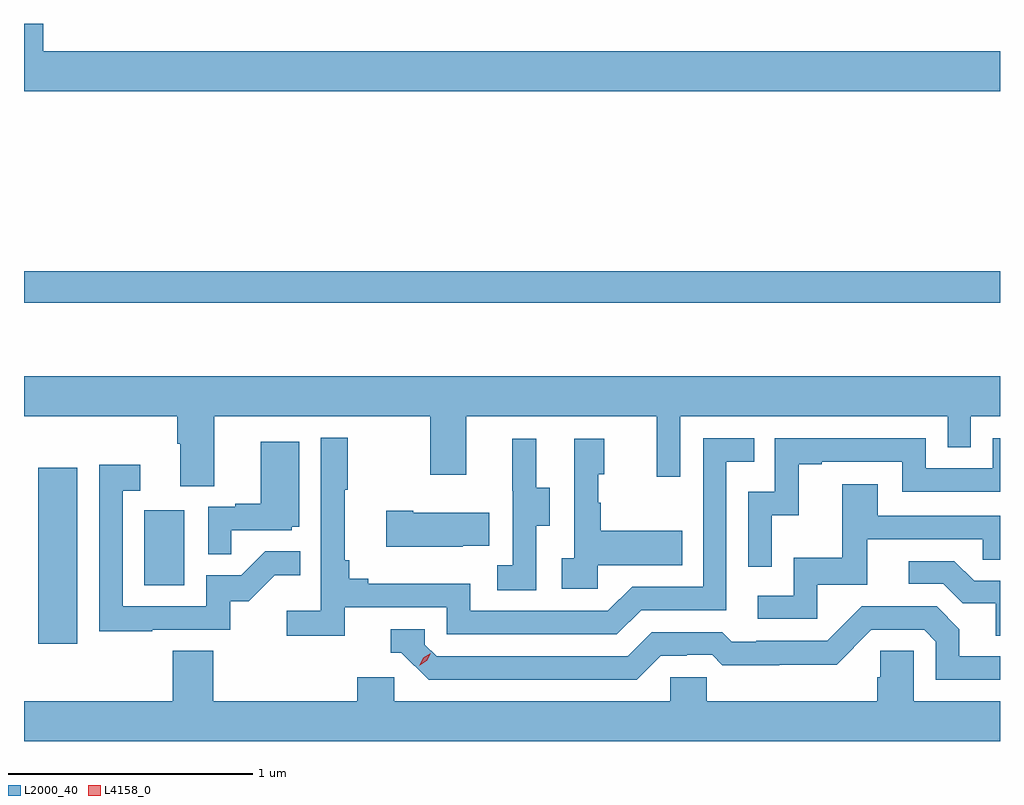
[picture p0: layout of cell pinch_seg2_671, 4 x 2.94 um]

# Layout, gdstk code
import gdstk
lib = gdstk.Library(unit=1e-6, precision=1e-09)
def R(c, l, rs):  # rectangles x0, y0, x1, y1
    for r in rs: c.add(gdstk.rectangle(r[:2], r[2:], *l))
def P(c, l, *ps):  # polygons
    for p in ps: c.add(gdstk.Polygon(p, *l))
L2000_40 = (2000, 40)
L4158_0 = (4158, 0)

pinch_seg2_671 = lib.new_cell('pinch_seg2_671')
R(pinch_seg2_671, L2000_40, [(1082.189,597.42,1082.35,598.141), (1082.624,597.66,1082.788,597.967), (1082.131,598.818,1086.131,598.946)])
P(pinch_seg2_671, L2000_40, [(1086.131,599.848),(1082.209,599.848),(1082.209,599.962),(1082.131,599.962),(1082.131,599.684),(1086.131,599.684)],
  [(1082.911,598.352),(1083.796,598.352),(1083.796,598.113),(1083.943,598.113),(1083.943,598.352),(1084.724,598.352),(1084.724,598.104),(1084.821,598.104),(1084.821,598.352),(1085.916,598.352),(1085.916,598.225),(1086.012,598.225),(1086.012,598.352),(1086.131,598.352),(1086.131,598.516),(1082.131,598.516),(1082.131,598.352),(1082.759,598.352),(1082.759,598.24),(1082.771,598.24),(1082.771,598.066),(1082.911,598.066)],
  [(1083.446,597.57),(1083.864,597.57),(1083.864,597.459),(1084.561,597.459),(1084.66,597.558),(1085.01,597.558),(1085.01,598.167),(1085.123,598.167),(1085.123,598.263),(1084.914,598.263),(1084.914,597.654),(1084.623,597.654),(1084.524,597.555),(1083.96,597.555),(1083.96,597.667),(1083.541,597.667),(1083.541,597.686),(1083.464,597.686),(1083.464,597.763),(1083.445,597.763),(1083.445,598.051),(1083.457,598.051),(1083.457,598.264),(1083.348,598.264),(1083.348,597.556),(1083.207,597.556),(1083.207,597.454),(1083.446,597.454)],
  [(1085.196,597.947),(1085.306,597.947),(1085.306,598.155),(1085.401,598.155),(1085.401,598.167),(1085.73,598.167),(1085.73,598.044),(1086.131,598.044),(1086.131,598.263),(1086.102,598.263),(1086.102,598.14),(1085.826,598.14),(1085.826,598.263),(1085.208,598.263),(1085.208,598.044),(1085.1,598.044),(1085.1,597.735),(1085.196,597.735)],
  [(1084.482,597.743),(1084.829,597.743),(1084.829,597.883),(1084.495,597.883),(1084.495,597.998),(1084.485,597.998),(1084.485,598.116),(1084.51,598.116),(1084.51,598.261),(1084.386,598.261),(1084.386,597.77),(1084.335,597.77),(1084.335,597.645),(1084.482,597.645)],
  [(1084.23,597.904),(1084.285,597.904),(1084.285,598.059),(1084.231,598.059),(1084.231,598.261),(1084.133,598.261),(1084.133,598.047),(1084.134,598.047),(1084.134,597.743),(1084.071,597.743),(1084.071,597.64),(1084.23,597.64)],
  [(1082.981,597.885),(1083.228,597.885),(1083.228,597.9),(1083.259,597.9),(1083.259,598.249),(1083.101,598.249),(1083.101,597.994),(1082.997,597.994),(1082.997,597.981),(1082.886,597.981),(1082.886,597.787),(1082.981,597.787)],
  [(1082.657,597.477),(1082.976,597.477),(1082.976,597.594),(1083.052,597.594),(1083.159,597.701),(1083.263,597.701),(1083.263,597.8),(1083.119,597.8),(1083.021,597.702),(1082.877,597.702),(1082.877,597.573),(1082.535,597.573),(1082.535,598.047),(1082.608,598.047),(1082.608,598.153),(1082.439,598.153),(1082.439,597.472),(1082.657,597.472)],
  [(1085.382,597.663),(1085.587,597.663),(1085.587,597.849),(1086.061,597.849),(1086.061,597.765),(1086.131,597.765),(1086.131,597.945),(1085.629,597.945),(1085.629,598.075),(1085.485,598.075),(1085.485,597.772),(1085.286,597.772),(1085.286,597.618),(1085.139,597.618),(1085.139,597.522),(1085.382,597.522)],
  [(1083.929,597.821),(1084.037,597.821),(1084.037,597.958),(1083.727,597.958),(1083.727,597.966),(1083.615,597.966),(1083.615,597.818),(1083.929,597.818)],
  [(1086.131,597.678),(1086.025,597.678),(1085.944,597.759),(1085.757,597.759),(1085.757,597.666),(1085.898,597.666),(1085.978,597.586),(1086.113,597.586),(1086.113,597.454),(1086.131,597.454)],
  [(1084.741,597.372),(1084.848,597.372),(1084.848,597.375),(1084.951,597.375),(1084.993,597.333),(1085.226,597.333),(1085.226,597.335),(1085.462,597.335),(1085.604,597.477),(1085.82,597.477),(1085.868,597.429),(1085.868,597.273),(1086.131,597.273),(1086.131,597.369),(1085.965,597.369),(1085.965,597.479),(1085.871,597.573),(1085.565,597.573),(1085.424,597.432),(1085.131,597.432),(1085.131,597.429),(1085.032,597.429),(1084.993,597.468),(1084.704,597.468),(1084.605,597.369),(1083.822,597.369),(1083.774,597.417),(1083.774,597.48),(1083.635,597.48),(1083.635,597.384),(1083.678,597.384),(1083.789,597.273),(1084.642,597.273)],
  [(1086.131,597.184),(1085.778,597.184),(1085.778,597.392),(1085.641,597.392),(1085.641,597.282),(1085.627,597.282),(1085.627,597.184),(1084.929,597.184),(1084.929,597.282),(1084.779,597.282),(1084.779,597.184),(1083.648,597.184),(1083.648,597.282),(1083.497,597.282),(1083.497,597.184),(1082.906,597.184),(1082.906,597.392),(1082.741,597.392),(1082.741,597.184),(1082.131,597.184),(1082.131,597.02),(1086.131,597.02)])
P(pinch_seg2_671, L4158_0, [(1083.751,597.331),(1083.751,597.331),(1083.768,597.363),(1083.798,597.382),(1083.799,597.382),(1083.799,597.382),(1083.782,597.35),(1083.751,597.331)])

lib.write_gds('pinch_seg2_671.gds')
